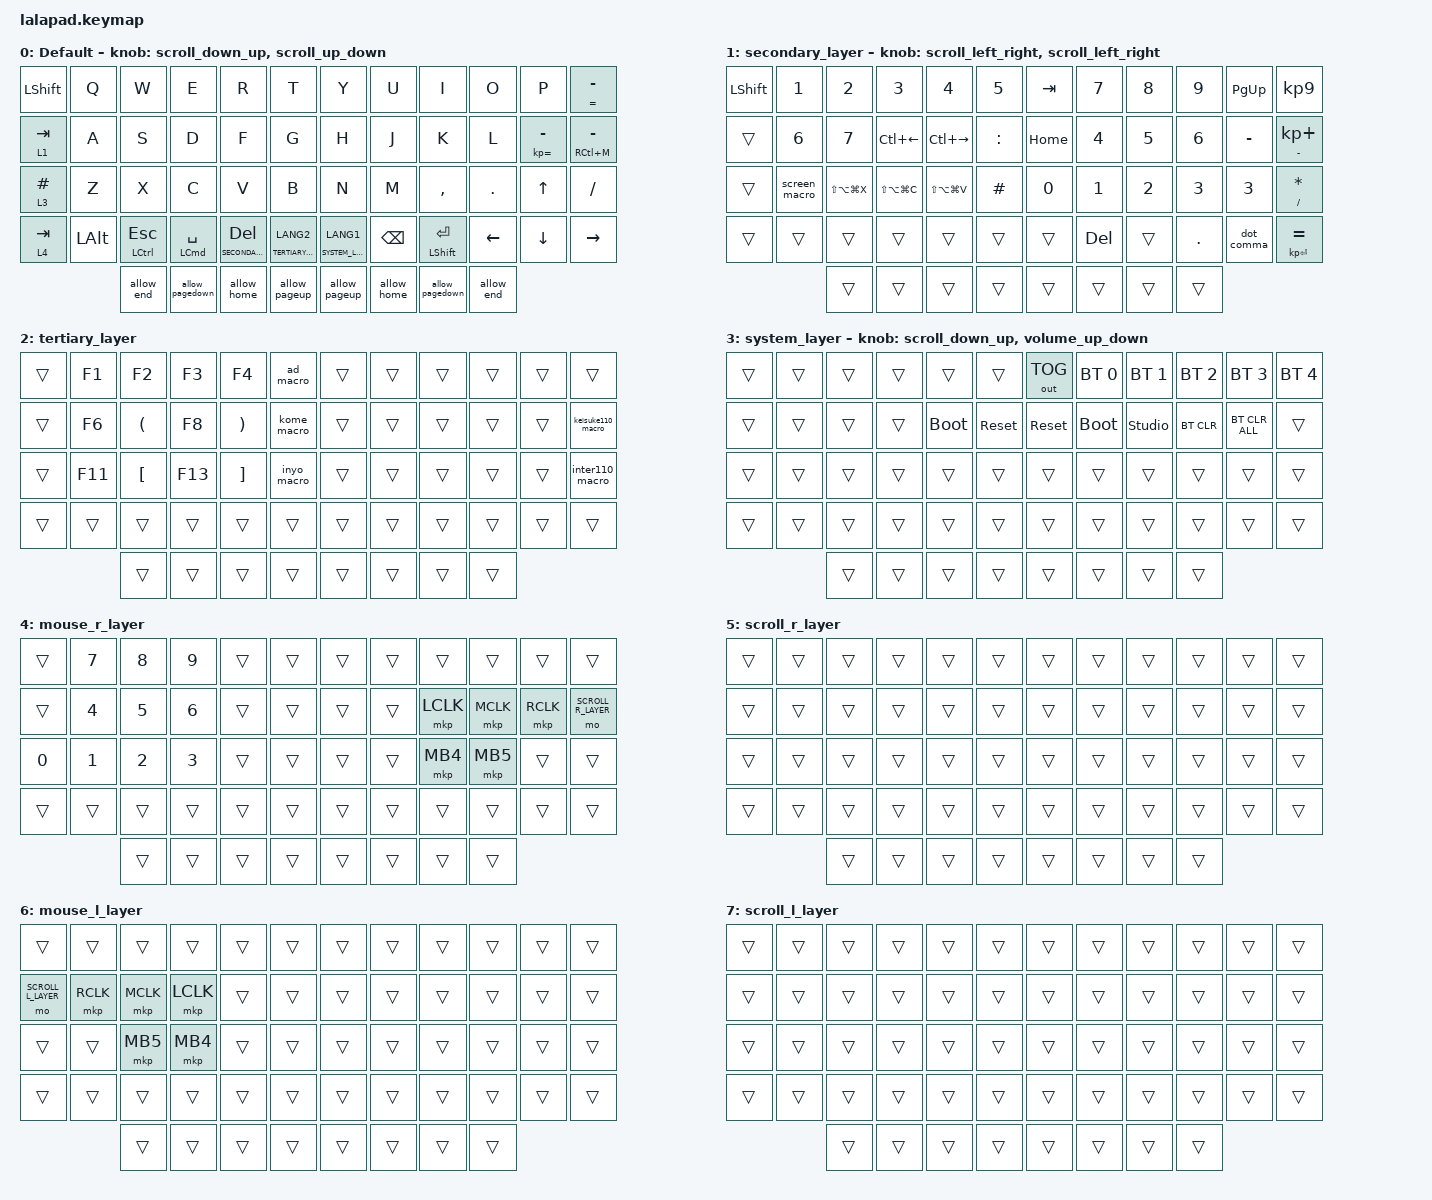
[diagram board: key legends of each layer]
#include <input/processors.dtsi>
#include <behaviors.dtsi>
#include <dt-bindings/zmk/bt.h>
#include <dt-bindings/zmk/keys.h>
#include <dt-bindings/zmk/outputs.h>
#include <dt-bindings/zmk/pointing.h>

#define DEFAULT_LAYER   0
#define SECONDARY_LAYER 1
#define TERTIARY_LAYER  2
#define SYSTEM_LAYER    3
#define MOUSE_R_LAYER   4
#define SCROLL_R_LAYER  5
#define MOUSE_L_LAYER   6
#define SCROLL_L_LAYER  7

// Mouse Scroll Value

#define ZMK_POINTING_DEFAULT_SCRL_VAL 100

// cirque trackpad input&layer control

&glidepoint_listener_R {
    input-processors =
        <&zip_xy_transform (INPUT_TRANSFORM_XY_SWAP | INPUT_TRANSFORM_X_INVERT | INPUT_TRANSFORM_Y_INVERT)>,
        <&zip_xy_scaler 3 2>,
        <&zip_temp_layer MOUSE_R_LAYER 500>;

    lowspeedmode {
        layers = <SECONDARY_LAYER>;
        input-processors =
            <&zip_xy_transform (INPUT_TRANSFORM_XY_SWAP | INPUT_TRANSFORM_X_INVERT | INPUT_TRANSFORM_Y_INVERT)>,
            <&zip_xy_scaler 3 5>,
            <&zip_temp_layer MOUSE_R_LAYER 500>;
    };

    scroller {
        layers = <SCROLL_R_LAYER>;
        input-processors =
            <&zip_xy_to_scroll_mapper>,
            <&zip_scroll_transform (INPUT_TRANSFORM_XY_SWAP | INPUT_TRANSFORM_Y_INVERT)>,
            <&zip_scroll_scaler 1 8>;
    };
};

&glidepoint_listener_L {
    input-processors =
        <&zip_xy_transform (INPUT_TRANSFORM_XY_SWAP | INPUT_TRANSFORM_X_INVERT | INPUT_TRANSFORM_Y_INVERT)>,
        <&zip_xy_scaler 3 2>,
        <&zip_temp_layer MOUSE_L_LAYER 500>;

    lowspeedmode {
        layers = <SECONDARY_LAYER>;
        input-processors =
            <&zip_xy_transform (INPUT_TRANSFORM_XY_SWAP | INPUT_TRANSFORM_X_INVERT | INPUT_TRANSFORM_Y_INVERT)>,
            <&zip_xy_scaler 3 4>,
            <&zip_temp_layer MOUSE_L_LAYER 500>;
    };

    scroller {
        layers = <SCROLL_L_LAYER>;
        input-processors =
            <&zip_xy_to_scroll_mapper>,
            <&zip_scroll_transform (INPUT_TRANSFORM_XY_SWAP | INPUT_TRANSFORM_Y_INVERT)>,
            <&zip_scroll_scaler 1 6>;
    };
};

/ {
    behaviors {
        // Encoder to Mouse Scroll

        scroll_up_down: sensor_scroll_up_down {
            compatible = "zmk,behavior-sensor-rotate";
            #sensor-binding-cells = <0>;
            bindings = <&msc SCRL_UP>, <&msc SCRL_DOWN>;

            tap-ms = <20>;
            label = "SCROLL_UP_DOWN";
        };

        scroll_down_up: sensor_scroll_down_up {
            compatible = "zmk,behavior-sensor-rotate";
            #sensor-binding-cells = <0>;
            bindings = <&msc SCRL_DOWN>, <&msc SCRL_UP>;

            tap-ms = <20>;
            label = "SCROLL_DOWN_UP";
        };

        scroll_left_right: sensor_scroll_left_right {
            compatible = "zmk,behavior-sensor-rotate";
            #sensor-binding-cells = <0>;
            bindings = <&msc SCRL_LEFT>, <&msc SCRL_RIGHT>;

            tap-ms = <20>;
            label = "SCROLL_LEFT_RIGHT";
        };

        scroll_right_left: sensor_scroll_right_left {
            compatible = "zmk,behavior-sensor-rotate";
            #sensor-binding-cells = <0>;
            bindings = <&msc SCRL_RIGHT>, <&msc SCRL_LEFT>;

            tap-ms = <20>;
            label = "SCROLL_RIGHT_LEFT";
        };

        volume_up_down: sensor_volume_up_down {
            compatible = "zmk,behavior-sensor-rotate";
            #sensor-binding-cells = <0>;
            bindings = <&kp C_VOLUME_UP>, <&kp C_VOLUME_DOWN>;

            tap-ms = <20>;
            label = "VOLUME_UP_DOWN";
        };

        dot_comma: dot_comma {
            compatible = "zmk,behavior-mod-morph";
            #binding-cells = <0>;
            bindings = <&kp KP_DOT>, <&kp COMMA>;

            mods = <(MOD_LSFT|MOD_RSFT)>;
            label = "DOT_COMMA";
        };

        pls_minus: pls_minus {
            compatible = "zmk,behavior-mod-morph";
            #binding-cells = <0>;
            bindings = <&kp PLUS>, <&kp MINUS>;

            mods = <(MOD_LSFT|MOD_RSFT)>;
            label = "PLS_MINUS";
        };

        allow_pageup: allow_pageup {
            compatible = "zmk,behavior-mod-morph";
            #binding-cells = <0>;
            bindings = <&kp UP>, <&kp PAGE_UP>;

            mods = <(MOD_LCTL|MOD_RCTL)>;
            label = "ALLOW_PAGEUP";
        };

        allow_pagedown: allow_pagedown {
            compatible = "zmk,behavior-mod-morph";
            #binding-cells = <0>;
            bindings = <&kp DOWN>, <&kp PAGE_DOWN>;

            mods = <(MOD_LCTL|MOD_RCTL)>;
            label = "ALLOW_PAGEDOWN";
        };

        allow_home: allow_home {
            compatible = "zmk,behavior-mod-morph";
            #binding-cells = <0>;
            bindings = <&kp LEFT>, <&kp HOME>;

            mods = <(MOD_LCTL|MOD_RCTL)>;
            label = "ALLOW_HOME";
        };

        allow_end: allow_end {
            compatible = "zmk,behavior-mod-morph";
            #binding-cells = <0>;
            bindings = <&kp RIGHT>, <&kp END>;

            mods = <(MOD_LCTL|MOD_RCTL)>;
            label = "ALLOW_END";
        };

        mt2: mod_tap2 {
            compatible = "zmk,behavior-hold-tap";
            #binding-cells = <2>;
            flavor = "tap-preferred";
            tapping-term-ms = <200>;
            quick-tap-ms = <200>;
            require-prior-idle-ms = <125>;
            bindings = <&kp>, <&kp>;
        };
    };

    macros {
        keisuke110_macro: keisuke110_macro {
            compatible = "zmk,behavior-macro";
            #binding-cells = <0>;
            bindings = <&kp LANGUAGE_2 &kp K &kp E &kp I &kp S &kp U &kp K &kp E &kp N1 &kp N1 &kp N0>;
            label = "KEISUKE110_MACRO";
        };

        inter110_macro: inter110_macro {
            compatible = "zmk,behavior-macro";
            #binding-cells = <0>;
            bindings = <&kp LANGUAGE_2 &kp I &kp N &kp T &kp E &kp R &kp N1 &kp N1 &kp N0>;
            label = "INTER110_MACRO";
        };

        ad_macro: ad_macro {
            compatible = "zmk,behavior-macro";
            #binding-cells = <0>;
            bindings = <&kp LANGUAGE_2 &kp LEFT_BRACKET &kp A &kp D &kp RIGHT_BRACKET>;
            label = "AD_MACRO";
        };

        inyo_macro: inyo_macro {
            compatible = "zmk,behavior-macro";
            #binding-cells = <0>;
            bindings = <&kp LANGUAGE_1 &kp NUMBER_1 &kp NUMBER_2 &kp SPACE &kp ENTER &kp LEFT>;
            label = "INYO_MACRO";
        };

        kome_macro: kome_macro {
            compatible = "zmk,behavior-macro";
            #binding-cells = <0>;
            bindings = <&kp LANG2 &kp ASTRK &kp ASTRK &kp ASTRK>;
            label = "KOME_MACRO";
        };

        screen_macro: screen_macro {
            compatible = "zmk,behavior-macro";
            #binding-cells = <0>;
            bindings = <&kp LG(LS(NUMBER_4))>;
            label = "SCREEN_MACRO";
        };
    };

    keymap {
        compatible = "zmk,keymap";

        DEFAULT_LAYER {
            display-name = "Default";
            sensor-bindings = <&scroll_down_up>, <&scroll_up_down>;

            bindings = <
&kp LEFT_SHIFT  &kp Q         &kp W                 &kp E                   &kp R                    &kp T                     &kp Y                   &kp U          &kp I                 &kp O       &kp P                &mt EQUAL MINUS
&lt 1 TAB       &kp A         &kp S                 &kp D                   &kp F                    &kp G                     &kp H                   &kp J          &kp K                 &kp L       &mt2 KP_EQUAL MINUS  &mt2 RC(M) MINUS
&lt 3 HASH      &kp Z         &kp X                 &kp C                   &kp V                    &kp B                     &kp N                   &kp M          &kp COMMA             &kp PERIOD  &kp UP               &kp SLASH
&lt 4 TAB       &kp LEFT_ALT  &mt LEFT_CONTROL ESC  &mt LEFT_COMMAND SPACE  &lt SECONDARY_LAYER DEL  &lt TERTIARY_LAYER LANG2  &lt SYSTEM_LAYER LANG1  &kp BACKSPACE  &mt LEFT_SHIFT ENTER  &kp LEFT    &kp DOWN             &kp RIGHT
                              &allow_end            &allow_pagedown         &allow_home              &allow_pageup             &allow_pageup           &allow_home    &allow_pagedown       &allow_end
            >;
        };

        SECONDARY_LAYER {
            display-name = "secondary_layer";
            sensor-bindings = <&scroll_left_right>, <&scroll_left_right>;

            bindings = <
&kp LEFT_SHIFT  &kp NUMBER_1   &kp NUMBER_2       &kp NUMBER_3        &kp NUMBER_4         &kp NUMBER_5  &kp TAB       &kp NUMBER_7  &kp NUMBER_8  &kp NUMBER_9  &kp PG_UP   &kp KP_NUMBER_9
&trans          &kp NUMBER_6   &kp NUMBER_7       &kp LC(LEFT_ARROW)  &kp LC(RIGHT_ARROW)  &kp COLON     &kp HOME      &kp NUMBER_4  &kp NUMBER_5  &kp NUMBER_6  &kp MINUS   &mt2 MINUS KP_PLUS
&trans          &screen_macro  &kp LS(LA(LG(X)))  &kp LS(LA(LG(C)))   &kp LS(LA(LG(V)))    &kp HASH      &kp NUMBER_0  &kp NUMBER_1  &kp NUMBER_2  &kp NUMBER_3  &kp N3      &mt2 SLASH ASTRK
&trans          &trans         &trans             &trans              &trans               &trans        &trans        &kp DELETE    &trans        &kp PERIOD    &dot_comma  &mt KP_ENTER EQUAL
                               &trans             &trans              &trans               &trans        &trans        &trans        &trans        &trans
            >;
        };

        TERTIARY_LAYER {
            display-name = "tertiary_layer";
            bindings = <
&trans  &kp F1   &kp F2                &kp F3   &kp F4                 &ad_macro    &trans  &trans  &trans  &trans  &trans  &trans
&trans  &kp F6   &kp LEFT_PARENTHESIS  &kp F8   &kp RIGHT_PARENTHESIS  &kome_macro  &trans  &trans  &trans  &trans  &trans  &keisuke110_macro
&trans  &kp F11  &kp LEFT_BRACKET      &kp F13  &kp RIGHT_BRACKET      &inyo_macro  &trans  &trans  &trans  &trans  &trans  &inter110_macro
&trans  &trans   &trans                &trans   &trans                 &trans       &trans  &trans  &trans  &trans  &trans  &trans
                 &trans                &trans   &trans                 &trans       &trans  &trans  &trans  &trans
            >;
        };

        SYSTEM_LAYER {
            display-name = "system_layer";
            sensor-bindings = <&scroll_down_up>, <&volume_up_down>;

            bindings = <
&trans  &trans  &trans  &trans  &trans       &trans      &out OUT_TOG  &bt BT_SEL 0  &bt BT_SEL 1    &bt BT_SEL 2  &bt BT_SEL 3    &bt BT_SEL 4
&trans  &trans  &trans  &trans  &bootloader  &sys_reset  &sys_reset    &bootloader   &studio_unlock  &bt BT_CLR    &bt BT_CLR_ALL  &trans
&trans  &trans  &trans  &trans  &trans       &trans      &trans        &trans        &trans          &trans        &trans          &trans
&trans  &trans  &trans  &trans  &trans       &trans      &trans        &trans        &trans          &trans        &trans          &trans
                &trans  &trans  &trans       &trans      &trans        &trans        &trans          &trans
            >;
        };

        MOUSE_R_LAYER {
            display-name = "mouse_r_layer";
            bindings = <
&trans  &kp N7        &kp N8        &kp N9        &trans  &trans  &trans  &trans  &trans     &trans     &trans     &trans
&trans  &kp NUMBER_4  &kp N5        &kp NUMBER_6  &trans  &trans  &trans  &trans  &mkp LCLK  &mkp MCLK  &mkp RCLK  &mo SCROLL_R_LAYER
&kp N0  &kp NUMBER_1  &kp NUMBER_2  &kp NUMBER_3  &trans  &trans  &trans  &trans  &mkp MB4   &mkp MB5   &trans     &trans
&trans  &trans        &trans        &trans        &trans  &trans  &trans  &trans  &trans     &trans     &trans     &trans
                      &trans        &trans        &trans  &trans  &trans  &trans  &trans     &trans
            >;
        };

        SCROLL_R_LAYER {
            display-name = "scroll_r_layer";
            bindings = <
&trans  &trans  &trans  &trans  &trans  &trans  &trans  &trans  &trans  &trans  &trans  &trans
&trans  &trans  &trans  &trans  &trans  &trans  &trans  &trans  &trans  &trans  &trans  &trans
&trans  &trans  &trans  &trans  &trans  &trans  &trans  &trans  &trans  &trans  &trans  &trans
&trans  &trans  &trans  &trans  &trans  &trans  &trans  &trans  &trans  &trans  &trans  &trans
                &trans  &trans  &trans  &trans  &trans  &trans  &trans  &trans
            >;
        };

        MOUSE_L_LAYER {
            display-name = "mouse_l_layer";
            bindings = <
&trans              &trans     &trans     &trans     &trans  &trans  &trans  &trans  &trans  &trans  &trans  &trans
&mo SCROLL_L_LAYER  &mkp RCLK  &mkp MCLK  &mkp LCLK  &trans  &trans  &trans  &trans  &trans  &trans  &trans  &trans
&trans              &trans     &mkp MB5   &mkp MB4   &trans  &trans  &trans  &trans  &trans  &trans  &trans  &trans
&trans              &trans     &trans     &trans     &trans  &trans  &trans  &trans  &trans  &trans  &trans  &trans
                               &trans     &trans     &trans  &trans  &trans  &trans  &trans  &trans
            >;
        };

        SCROLL_L_LAYER {
            display-name = "scroll_l_layer";
            bindings = <
&trans  &trans  &trans  &trans  &trans  &trans  &trans  &trans  &trans  &trans  &trans  &trans
&trans  &trans  &trans  &trans  &trans  &trans  &trans  &trans  &trans  &trans  &trans  &trans
&trans  &trans  &trans  &trans  &trans  &trans  &trans  &trans  &trans  &trans  &trans  &trans
&trans  &trans  &trans  &trans  &trans  &trans  &trans  &trans  &trans  &trans  &trans  &trans
                &trans  &trans  &trans  &trans  &trans  &trans  &trans  &trans
            >;
        };
    };
};
